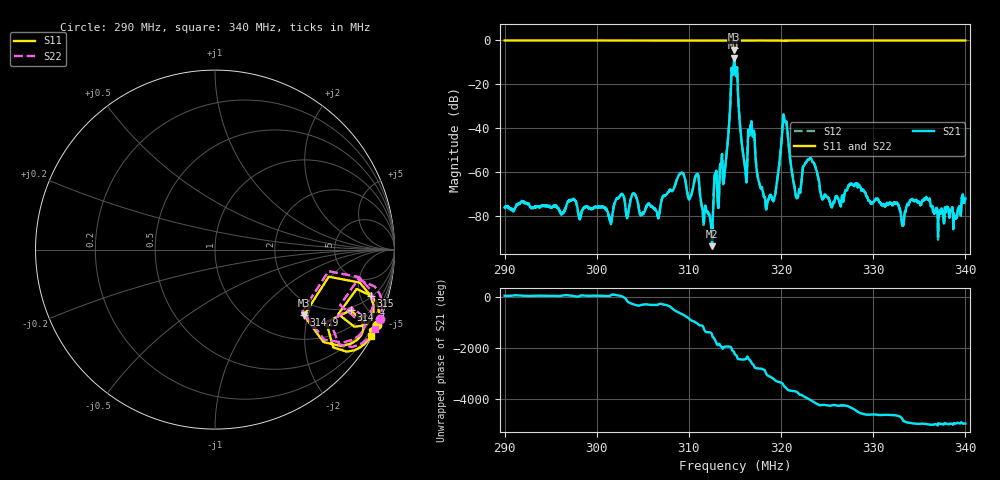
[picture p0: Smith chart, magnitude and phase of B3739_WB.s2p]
! Matrix data file written by TouchstoneData, EPCOS AG
! FILENAME: "newformat_B3739_WB.s2p"
! COMMENT: "PORTEX1 93PS; PORTEX2 179.5PS; 13 Mar 2008 S"
! INFO: nport=2, nfreq=1601
! DATE: "Wed Sep 19 14:54:40 2012"
! USER: "Wilfried Schott"
! port | pin | signal
!  1  |  1  |  IN
!  2  |  4  |  OUT
# MHZ S MA R 50
! freq  magS11 angS11  magS21 angS21  magS12 angS12  magS22 angS22
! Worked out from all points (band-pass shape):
!   1601 points, 290 MHz to 340 MHz, reference 50 ohm
!   highest |S21| = -7.88 dB at 314.9 MHz (marker M1); lowest = -94.0 dB at 312.5 MHz (marker M2)
!   |S21| within 3 dB of the highest: 314.868 MHz to 314.9691 MHz (101.1 kHz wide, 0.0321 % of centre)
!   lowest |S11| = -4.2 dB at 314.9 MHz (marker M3), VSWR 4.21, Z = 79.9 - j94.3 ohm
!   |S11| at or under -10 dB: nowhere
!   |S22| runs from -4.5 to 0.0 dB; largest |S21 - S12| = 0.00029
!   S11 on the Smith chart (normalised r, x): 290 MHz: 0.04, -4.51; 314.7 MHz: 1.80, -3.89; 314.9 MHz: 1.60, -1.89; 315 MHz: 2.20, -6.14; 340 MHz: 0.04, -3.87
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290  0.9962 -25.0  0.0001526 64.5  0.0001522 64.9  0.9943 -22.8
298.3438  0.9955 -25.7  0.0001214 72.9  0.0001153 73.6  0.9939 -23.5
304  0.9949 -26.3  0.0003167 81.3  0.0003162 81.1  0.9932 -24.0
306.6875  0.9952 -26.6  8.684e-05 79.0  8.875e-05 83.7  0.9933 -24.3
309.1875  0.9936 -26.9  0.0009369 75.0  0.0009344 74.6  0.9921 -24.6
312.5  0.9946 -27.8  1.995e-05 -11.0  2.064e-05 -7.1  0.993 -25.5
313.9375  0.9928 -29.4  0.00127 -137.8  0.001277 -137.9  0.9919 -27.0
314.6562  0.8282 -24.1  0.2281 102.6  0.2281 102.6  0.8271 -23.1
314.9062  0.6162 -36.4  0.4036 -9.4  0.4035 -9.4  0.5963 -35.1
315  0.9037 -16.5  0.2194 -89.8  0.2192 -89.8  0.891 -14.4
316.0312  0.9935 -25.2  0.001575 79.6  0.001577 79.6  0.9925 -22.7
316.875  0.9914 -25.8  0.007396 -99.6  0.007393 -99.5  0.9902 -23.4
317.5312  0.9939 -26.3  0.0006609 84.1  0.0006575 83.5  0.9925 -23.9
318.3438  0.9936 -26.7  0.0001525 -85.1  0.0001538 -88.6  0.9925 -24.3
319.3438  0.9933 -27.0  0.0002878 -22.7  0.000288 -22.5  0.9915 -24.7
320.375  0.9836 -26.8  0.01473 89.4  0.01472 89.4  0.9846 -24.4
321.6562  0.9933 -27.1  0.0002649 -107.8  0.0002643 -107.7  0.9919 -24.7
323.3438  0.9921 -27.3  0.001787 -116.6  0.001788 -116.6  0.9906 -24.8
325.5  0.9945 -27.5  0.0001586 73.4  0.0001509 74.3  0.9933 -25.1
327.5625  0.9941 -27.8  0.0005421 -12.2  0.0005393 -11.4  0.9928 -25.4
331.6875  0.9947 -28.2  0.0001828 58.6  0.0001844 55.3  0.9936 -25.7
340  0.9945 -29.0  0.000245 74.8  0.0002461 74.3  0.9936 -26.4
